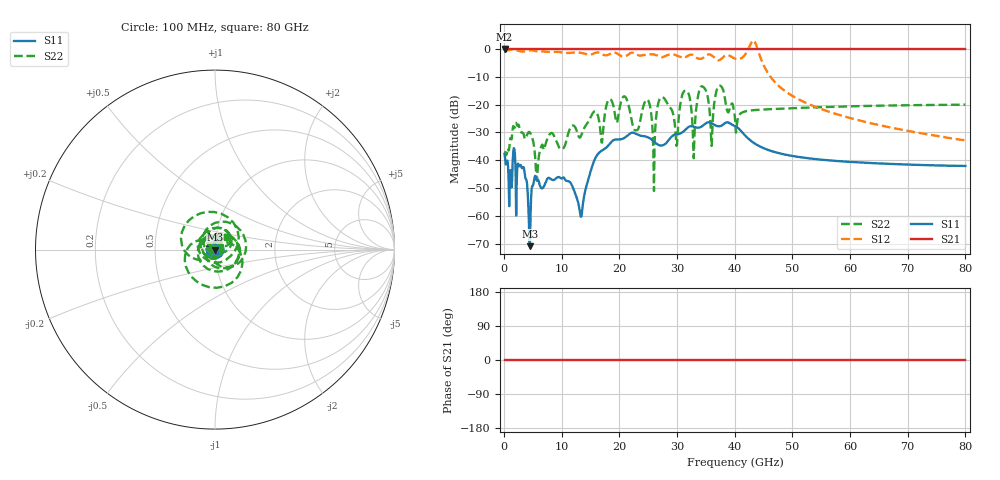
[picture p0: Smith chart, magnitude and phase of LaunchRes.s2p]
! File created by SignalIntegrity v1.1.9: Signal and Power Integrity Tools
! https://github.com/TeledyneLeCroy/SignalIntegrity
# MHz MA S R 50.0
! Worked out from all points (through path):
!   800 points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, 100 MHz to 80 GHz, reference 50 ohm
!   highest |S21| = 0.00 dB at 100 MHz (marker M1); lowest = 0.0 dB at 100 MHz (marker M2)
!   lowest |S11| = -70.9 dB at 4.5 GHz (marker M3), VSWR 1.00, Z = 50 + j0.0172 ohm
!   |S11| at or under -10 dB: start of sweep to end of sweep
!   |S22| runs from -51.1 to -13.2 dB; largest |S21 - S12| = 2.1
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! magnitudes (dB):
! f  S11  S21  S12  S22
! 100 MHz  -37.8  0.0  -0.3  -37.7
! 3.2 GHz  -42.8  0.0  -0.9  -30.2
! 4.5 GHz  -70.9  0.0  -0.5  -30.1
! 5.7 GHz  -47.3  0.0  -0.9  -47.3
! 9.5 GHz  -46.0  0.0  -1.1  -35.2
! 13.5 GHz  -59.0  0.0  -1.5  -30.5
! 18.8 GHz  -33.0  0.0  -1.4  -19.3
! 22.9 GHz  -30.5  0.0  -1.9  -29.3
! 24.9 GHz  -31.8  0.0  -2.1  -18.3
! 26 GHz  -33.4  0.0  -2.0  -51.1
! 26.8 GHz  -34.5  0.0  -2.6  -19.1
! 29.9 GHz  -30.7  0.0  -2.3  -34.8
! 31.6 GHz  -28.7  0.0  -2.9  -15.0
! 32.9 GHz  -28.0  0.0  -2.4  -39.3
! 34.1 GHz  -28.1  0.0  -3.6  -13.7
! 36 GHz  -26.7  0.0  -2.3  -34.9
! 37.5 GHz  -27.8  0.0  -3.9  -13.2
! 40.1 GHz  -27.8  0.0  -3.5  -26.1
! 43.3 GHz  -33.8  0.0  3.0  -22.0
! 53.4 GHz  -39.5  0.0  -20.3  -21.0
! 66.7 GHz  -41.3  0.0  -28.1  -20.3
! 80 GHz  -42.1  0.0  -32.8  -20.0
